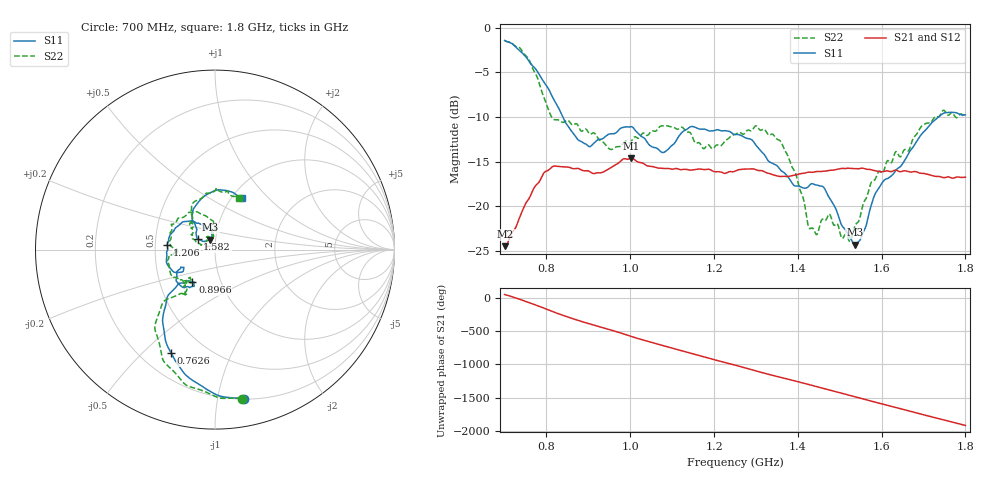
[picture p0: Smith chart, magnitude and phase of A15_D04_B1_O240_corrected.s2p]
! Created with skrf 1.9.0 (http://scikit-rf.org).
# Hz S RI R 50.0
!freq ReS11 ImS11 ReS21 ImS21 ReS12 ImS12 ReS22 ImS22
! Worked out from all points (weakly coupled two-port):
!   1601 points, 700 MHz to 1.8 GHz, reference 50 ohm
!   highest |S21| = -14.64 dB at 1.002 GHz (marker M1); lowest = -24.5 dB at 701.4 MHz (marker M2)
!   lowest |S11| = -24.3 dB at 1.536 GHz (marker M3), VSWR 1.13, Z = 47.1 + j5.17 ohm
!   |S11| at or under -10 dB: 838.7 MHz to 1.736 GHz (897.5 MHz wide, 69.7 % of centre)
!   |S22| runs from -24.0 to -1.5 dB; largest |S21 - S12| = 0.0034
!   S11 on the Smith chart (normalised r, x): 700 MHz: 0.20, -1.19; 762.6 MHz: 0.32, -0.61; 896.6 MHz: 0.73, -0.28; 1.206 GHz: 0.58, +0.03; 1.582 GHz: 0.82, +0.10; 1.8 GHz: 1.12, +0.72
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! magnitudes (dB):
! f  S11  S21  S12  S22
! 700 MHz  -1.4  -24.5  -24.2  -1.5
! 701.4 MHz  -1.5  -24.5  -24.1  -1.5
! 762.6 MHz  -4.1  -18.7  -18.7  -4.1
! 814.1 MHz  -7.8  -15.6  -15.6  -10.1
! 883.6 MHz  -12.8  -15.9  -15.8  -11.6
! 896.6 MHz  -13.1  -16.0  -16.1  -11.5
! 953 MHz  -11.9  -15.7  -15.7  -13.6
! 1.002 GHz  -11.1  -14.6  -14.7  -12.7
! 1.067 GHz  -13.6  -15.7  -15.7  -11.3
! 1.144 GHz  -11.1  -16.0  -16.0  -11.8
! 1.206 GHz  -11.4  -16.1  -16.2  -13.2
! 1.25 GHz  -12.0  -16.1  -16.0  -12.0
! 1.301 GHz  -13.2  -15.9  -15.9  -11.0
! 1.358 GHz  -15.9  -16.7  -16.6  -12.7
! 1.434 GHz  -17.5  -16.2  -16.2  -22.4
! 1.463 GHz  -18.0  -16.1  -16.1  -21.6
! 1.523 GHz  -23.4  -15.7  -15.7  -23.9
! 1.536 GHz  -24.3  -15.8  -15.8  -22.2
! 1.582 GHz  -18.9  -16.0  -16.0  -17.1
! 1.617 GHz  -16.8  -16.1  -16.0  -15.0
! 1.731 GHz  -10.2  -16.7  -16.7  -10.0
! 1.8 GHz  -9.8  -16.8  -16.7  -10.0
